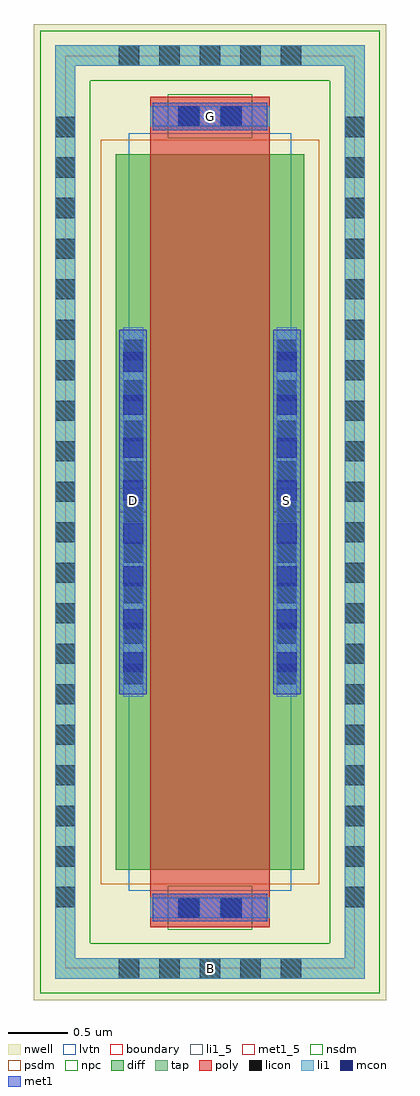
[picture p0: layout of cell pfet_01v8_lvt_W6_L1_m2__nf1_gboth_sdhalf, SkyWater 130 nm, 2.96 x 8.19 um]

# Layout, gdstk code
import gdstk
lib = gdstk.Library(unit=1e-6, precision=1e-09)
def R(c, l, rs):  # rectangles x0, y0, x1, y1
    for r in rs: c.add(gdstk.rectangle(r[:2], r[2:], *l))
def A(c, l, x, y, w, h, nx, ny, dx, dy):  # array of equal rectangles
    R(c, l, [(x+i*dx, y+j*dy, x+i*dx+w, y+j*dy+h) for i in range(nx) for j in range(ny)])
nwell = (64, 20)
diff = (65, 20)
tap = (65, 44)
poly = (66, 20)
licon = (66, 44)
li1_5 = (67, 5)
li1 = (67, 20)
mcon = (67, 44)
met1_5 = (68, 5)
met1 = (68, 20)
nsdm = (93, 44)
psdm = (94, 20)
npc = (95, 20)
lvtn = (125, 44)
boundary = (235, 4)

sky130_fd_pr__pfet_01v8_ = lib.new_cell('sky130_fd_pr__pfet_01v8_lvt_6ZV4C7')
R(sky130_fd_pr__pfet_01v8_, nwell, [(-1.48,-4.095,1.48,4.095)])
R(sky130_fd_pr__pfet_01v8_, diff, [(-0.79,-3,0.79,3)])
R(sky130_fd_pr__pfet_01v8_, tap, [(-1.3,-3.915,1.3,-3.745), (-1.3,-3.745,-1.13,3.745), (1.13,-3.745,1.3,3.745), (-1.3,3.745,1.3,3.915)])
R(sky130_fd_pr__pfet_01v8_, poly, [(-0.5,-3.485,0.5,3.485)])
A(sky130_fd_pr__pfet_01v8_, licon, -0.765, -3.915, 0.17, 0.17, 5, 2, 0.34, 7.66)
A(sky130_fd_pr__pfet_01v8_, licon, -1.3, -3.315, 0.17, 0.17, 1, 20, 0, 0.34)
A(sky130_fd_pr__pfet_01v8_, licon, 1.13, -3.315, 0.17, 0.17, 1, 20, 0, 0.34)
A(sky130_fd_pr__pfet_01v8_, licon, -0.73, -1.445, 0.17, 0.17, 1, 9, 0, 0.34)
A(sky130_fd_pr__pfet_01v8_, licon, 0.56, -1.445, 0.17, 0.17, 1, 9, 0, 0.34)
R(sky130_fd_pr__pfet_01v8_, licon, [(-0.255,-3.405,-0.085,-3.235), (0.085,-3.405,0.255,-3.235), (-0.255,3.235,-0.085,3.405), (0.085,3.235,0.255,3.405)])
R(sky130_fd_pr__pfet_01v8_, li1, [(-1.3,-3.915,1.3,-3.745), (-1.3,-3.745,-1.13,3.745), (1.13,-3.745,1.3,3.745), (-0.5,-3.405,0.5,-3.235), (-0.73,-1.55,-0.56,1.55), (0.56,-1.55,0.73,1.55), (-0.5,3.235,0.5,3.405), (-1.3,3.745,1.3,3.915)])
A(sky130_fd_pr__pfet_01v8_, mcon, -0.73, -1.345, 0.17, 0.17, 1, 8, 0, 0.36)
A(sky130_fd_pr__pfet_01v8_, mcon, 0.56, -1.345, 0.17, 0.17, 1, 8, 0, 0.36)
R(sky130_fd_pr__pfet_01v8_, mcon, [(-0.265,-3.405,-0.095,-3.235), (0.095,-3.405,0.265,-3.235), (-0.265,3.235,-0.095,3.405), (0.095,3.235,0.265,3.405)])
R(sky130_fd_pr__pfet_01v8_, met1, [(-0.48,-3.435,0.48,-3.205), (-0.76,-1.53,-0.53,1.53), (0.53,-1.53,0.76,1.53), (-0.48,3.205,0.48,3.435)])
R(sky130_fd_pr__pfet_01v8_, nsdm, [(-1.425,-4.04,1.425,-3.62), (-1.425,-3.62,-1.005,3.62), (1.005,-3.62,1.425,3.62), (-1.425,3.62,1.425,4.04)])
R(sky130_fd_pr__pfet_01v8_, psdm, [(-0.915,-3.125,0.915,3.125)])
R(sky130_fd_pr__pfet_01v8_, npc, [(-0.355,-3.505,0.355,-3.135), (-0.355,3.135,0.355,3.505)])
R(sky130_fd_pr__pfet_01v8_, lvtn, [(-0.68,-3.18,0.68,3.18)])
R(sky130_fd_pr__pfet_01v8_, boundary, [(-1.215,-3.83,1.215,3.83)])
sky130_fd_pr__pfet_01v8_.add(gdstk.Label('B', (0,-3.83), layer=67, texttype=5))
sky130_fd_pr__pfet_01v8_.add(gdstk.Label('D', (-0.645,0), layer=67, texttype=5))
sky130_fd_pr__pfet_01v8_.add(gdstk.Label('S', (0.645,0), layer=67, texttype=5))
sky130_fd_pr__pfet_01v8_.add(gdstk.Label('G', (0,3.32), layer=67, texttype=5))

pfet_01v8_lvt_w6_l1_m2__ = lib.new_cell('pfet_01v8_lvt_W6_L1_m2__nf1_gboth_sdhalf')
R(pfet_01v8_lvt_w6_l1_m2__, li1_5, [(1.13,-0.085,1.3,0.085)])
R(pfet_01v8_lvt_w6_l1_m2__, li1, [(1.13,-0.085,1.3,0.085)])
R(pfet_01v8_lvt_w6_l1_m2__, met1_5, [(0.455,3.83,0.685,4.03), (1.745,3.83,1.975,4.03), (0.735,7.035,1.695,7.265)])
R(pfet_01v8_lvt_w6_l1_m2__, met1, [(0.455,3.83,0.685,4.03), (1.745,3.83,1.975,4.03), (0.735,7.035,1.695,7.265)])
pfet_01v8_lvt_w6_l1_m2__.add(gdstk.Reference(sky130_fd_pr__pfet_01v8_, (1.215,3.83)))
pfet_01v8_lvt_w6_l1_m2__.add(gdstk.Label('D', (0.57,3.93), layer=68, texttype=5))
pfet_01v8_lvt_w6_l1_m2__.add(gdstk.Label('S', (1.86,3.93), layer=68, texttype=5))
pfet_01v8_lvt_w6_l1_m2__.add(gdstk.Label('G', (1.215,7.15), layer=68, texttype=5))
pfet_01v8_lvt_w6_l1_m2__.add(gdstk.Label('B', (1.215,0), layer=67, texttype=5))

lib.write_gds('pfet_01v8_lvt_W6_L1_m2__nf1_gboth_sdhalf.gds')
